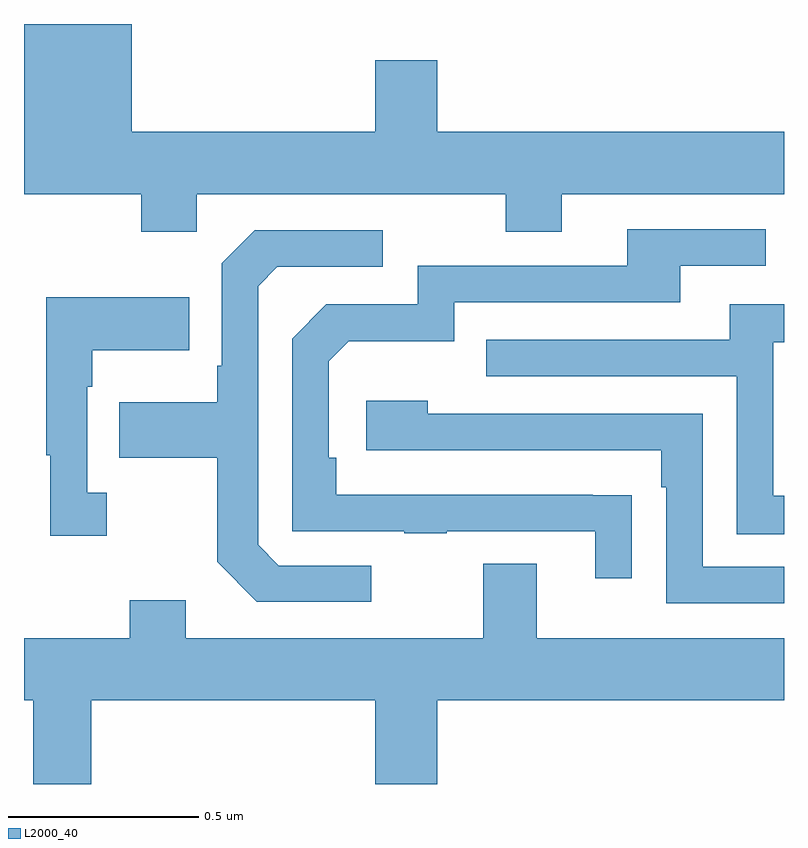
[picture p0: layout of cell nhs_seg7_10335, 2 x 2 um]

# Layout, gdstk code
import gdstk
lib = gdstk.Library(unit=1e-6, precision=1e-09)
def P(c, l, *ps):  # polygons
    for p in ps: c.add(gdstk.Polygon(p, *l))
L2000_40 = (2000, 40)

nhs_seg7_10335 = lib.new_cell('nhs_seg7_10335')
P(nhs_seg7_10335, L2000_40, [(248.454,1064.552),(249.268,1064.552),(249.268,1064.453),(249.415,1064.453),(249.415,1064.552),(250,1064.552),(250,1064.716),(249.088,1064.716),(249.088,1064.905),(248.924,1064.905),(248.924,1064.716),(248.284,1064.716),(248.284,1065),(248,1065),(248,1064.552),(248.308,1064.552),(248.308,1064.453),(248.454,1064.453)],
  [(249.599,1063.76),(249.497,1063.76),(249.497,1063.761),(248.822,1063.761),(248.822,1063.858),(248.802,1063.858),(248.802,1064.112),(248.855,1064.165),(249.132,1064.165),(249.132,1064.268),(249.727,1064.268),(249.727,1064.364),(249.952,1064.364),(249.952,1064.46),(249.587,1064.46),(249.587,1064.364),(249.036,1064.364),(249.036,1064.262),(248.796,1064.262),(248.706,1064.172),(248.706,1063.665),(249.001,1063.665),(249.001,1063.66),(249.113,1063.66),(249.113,1063.665),(249.503,1063.665),(249.503,1063.542),(249.599,1063.542)],
  [(248.914,1063.575),(248.67,1063.575),(248.616,1063.629),(248.616,1064.31),(248.667,1064.361),(248.944,1064.361),(248.944,1064.457),(248.607,1064.457),(248.52,1064.37),(248.52,1064.101),(248.508,1064.101),(248.508,1064.005),(248.251,1064.005),(248.251,1063.858),(248.508,1063.858),(248.508,1063.585),(248.613,1063.479),(248.914,1063.479)],
  [(248.218,1063.766),(248.166,1063.766),(248.166,1064.045),(248.179,1064.045),(248.179,1064.141),(248.435,1064.141),(248.435,1064.281),(248.058,1064.281),(248.058,1063.865),(248.069,1063.865),(248.069,1063.653),(248.218,1063.653)],
  [(250,1063.758),(249.972,1063.758),(249.972,1064.163),(250,1064.163),(250,1064.263),(249.857,1064.263),(249.857,1064.169),(249.217,1064.169),(249.217,1064.073),(249.876,1064.073),(249.876,1063.657),(250,1063.657)],
  [(250,1063.572),(249.786,1063.572),(249.786,1063.974),(249.062,1063.974),(249.062,1064.008),(248.901,1064.008),(248.901,1063.878),(249.677,1063.878),(249.677,1063.781),(249.69,1063.781),(249.69,1063.476),(250,1063.476)],
  [(248.177,1063.22),(248.924,1063.22),(248.924,1063),(249.088,1063),(249.088,1063.22),(250,1063.22),(250,1063.384),(249.349,1063.384),(249.349,1063.579),(249.209,1063.579),(249.209,1063.384),(248.425,1063.384),(248.425,1063.483),(248.278,1063.483),(248.278,1063.384),(248,1063.384),(248,1063.22),(248.024,1063.22),(248.024,1063),(248.177,1063)])

lib.write_gds('nhs_seg7_10335.gds')
